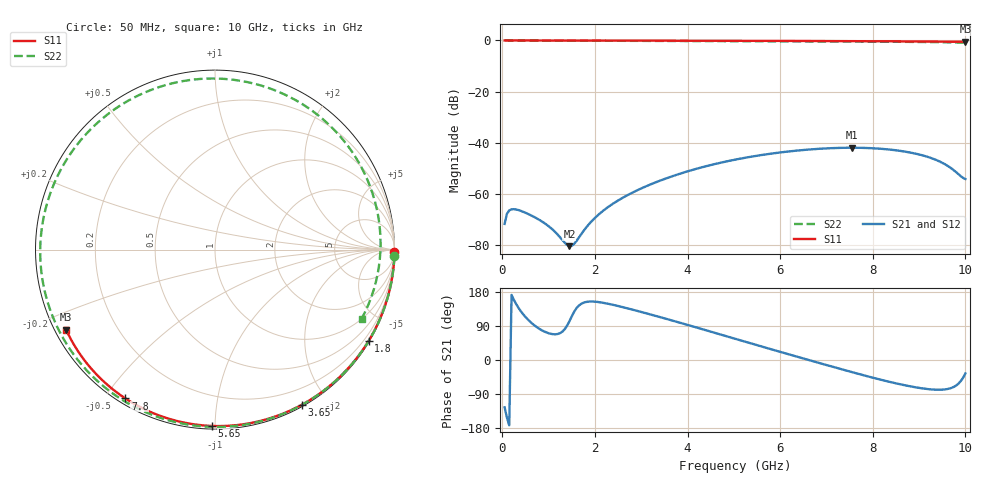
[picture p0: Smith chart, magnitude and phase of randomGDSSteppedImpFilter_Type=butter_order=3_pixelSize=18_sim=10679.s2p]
! freq	dB(S11)	phase(S11)	dB(S12)	phase(S12)
!  dB(S21)	phase(S21)	dB(S22)	phase(S22)
!S-par simulation data
#  GHz  S  DB  R 50
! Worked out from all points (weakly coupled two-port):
!   200 points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, 50 MHz to 10 GHz, reference 50 ohm
!   highest |S21| = -41.94 dB at 7.55 GHz (marker M1); lowest = -80.4 dB at 1.45 GHz (marker M2)
!   lowest |S11| = -0.5 dB at 10 GHz (marker M3), VSWR 33.44, Z = 1.59 - j12.6 ohm
!   |S11| at or under -10 dB: nowhere
!   |S22| runs from -0.9 to 0.0 dB; largest |S21 - S12| = 0
!   S11 on the Smith chart (normalised r, x): 50 MHz: open; 1.8 GHz: 0.03, -3.63; 3.65 GHz: 0.02, -1.70; 5.65 GHz: 0.02, -0.98; 7.8 GHz: 0.02, -0.57; 10 GHz: 0.03, -0.25
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0.05  -0.00 -0.9  -71.73 -124.9  -71.73 -124.9  -0.00 -2.1
0.1  -0.00 -1.7  -67.76 -152.2  -67.76 -152.2  -0.00 -4.2
0.15  -0.00 -2.6  -66.47 -172.4  -66.47 -172.4  -0.00 -6.3
0.35  -0.00 -6.1  -66.33 137.5  -66.33 137.5  -0.01 -14.8
0.9  -0.02 -15.5  -71.31 75.5  -71.31 75.5  -0.04 -37.5
1.45  -0.03 -24.9  -80.44 102.4  -80.44 102.4  -0.07 -59.3
1.55  -0.03 -26.6  -79.58 126.9  -79.58 126.9  -0.08 -63.2
1.75  -0.04 -29.9  -74.60 151.0  -74.60 151.0  -0.09 -70.8
1.8  -0.04 -30.8  -73.41 152.8  -73.41 152.8  -0.09 -72.6
2.4  -0.05 -40.7  -63.71 145.4  -63.71 145.4  -0.11 -94.5
3.4  -0.08 -56.9  -54.86 113.5  -54.86 113.5  -0.15 -128.5
3.65  -0.08 -60.8  -53.23 104.9  -53.23 104.9  -0.16 -136.6
4.35  -0.10 -71.6  -49.41 80.3  -49.41 80.3  -0.19 -158.8
5.05  -0.13 -82.1  -46.52 55.2  -46.52 55.2  -0.23 179.1
5.65  -0.15 -90.9  -44.66 33.8  -44.66 33.8  -0.27 159.7
6.7  -0.21 -105.8  -42.54 -2.9  -42.54 -2.9  -0.35 123.5
7.55  -0.26 -117.6  -41.94 -32.0  -41.94 -32.0  -0.41 90.9
7.8  -0.28 -121.0  -42.01 -40.2  -42.01 -40.2  -0.44 80.7
8.35  -0.33 -128.6  -42.64 -57.3  -42.64 -57.3  -0.49 56.9
9.25  -0.42 -140.9  -45.91 -77.5  -45.91 -77.5  -0.63 14.5
9.65  -0.47 -146.6  -49.42 -75.5  -49.42 -75.5  -0.74 -6.0
10  -0.52 -151.7  -54.18 -35.7  -54.18 -35.7  -0.89 -25.3
